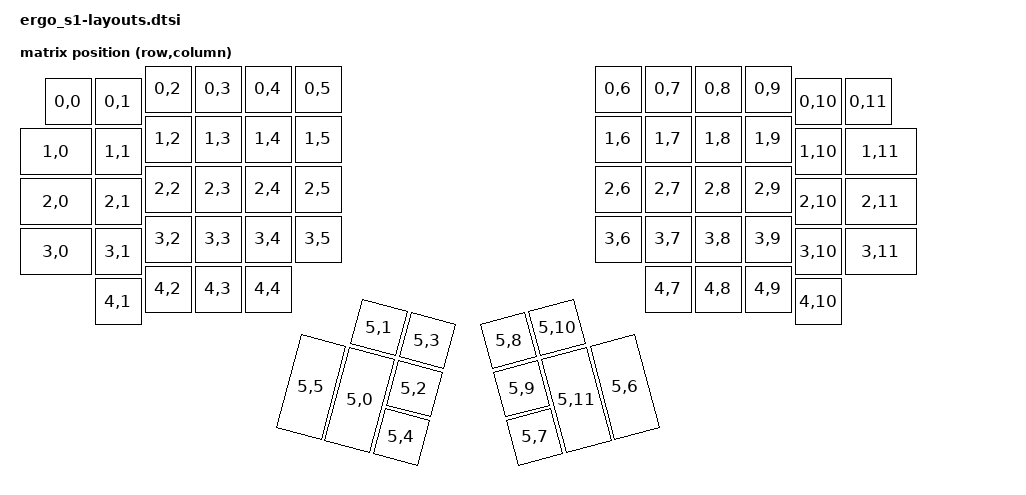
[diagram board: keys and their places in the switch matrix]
/*
 * Ergo S1 — matrix transform + physical layout (shared by both halves and the dongle).
 *
 * Global matrix is 6 rows x 12 columns.
 *   Left half : columns 0..5  (col 0 = outermost / leftmost)
 *   Right half: columns 6..11 (col 11 = outermost / rightmost; overlay sets col-offset = <6>)
 *
 * Row 4 (bottom row) only uses C1..C4 on each half.
 * Row 5 is the thumb cluster: column jumpers C0 Fn, C1 Ctrl, C2 Home, C3 Alt, C4 End, C5 Shift.
 */

#include <dt-bindings/zmk/matrix_transform.h>
#include <physical_layouts.dtsi>

/ {
    default_transform: keymap_transform_0 {
        compatible = "zmk,matrix-transform";
        columns = <12>;
        rows = <6>;
        map = <
RC(0,0) RC(0,1) RC(0,2) RC(0,3) RC(0,4) RC(0,5)    RC(0,6) RC(0,7) RC(0,8) RC(0,9) RC(0,10) RC(0,11)
RC(1,0) RC(1,1) RC(1,2) RC(1,3) RC(1,4) RC(1,5)    RC(1,6) RC(1,7) RC(1,8) RC(1,9) RC(1,10) RC(1,11)
RC(2,0) RC(2,1) RC(2,2) RC(2,3) RC(2,4) RC(2,5)    RC(2,6) RC(2,7) RC(2,8) RC(2,9) RC(2,10) RC(2,11)
RC(3,0) RC(3,1) RC(3,2) RC(3,3) RC(3,4) RC(3,5)    RC(3,6) RC(3,7) RC(3,8) RC(3,9) RC(3,10) RC(3,11)
        RC(4,1) RC(4,2) RC(4,3) RC(4,4)                    RC(4,7) RC(4,8) RC(4,9) RC(4,10)
/* Left thumbs : Shift    Fn       Ctrl     Alt      Home     End                                   */
        RC(5,5) RC(5,0) RC(5,1) RC(5,3) RC(5,2) RC(5,4)
/* Right thumbs: PgDn     PgUp     Caps     Ctrl     Enter    Space                                 */
/* PROVISIONAL: assumes the right half uses the same column jumpers as the left (C0 Enter, C1 Ctrl, */
/* C2 PgUp, C3 Caps, C4 PgDn, C5 Space). Right Cn = global column 11-n. Fix once the half is wired. */
        RC(5,7) RC(5,9) RC(5,8) RC(5,10) RC(5,11) RC(5,6)
        >;
    };

    ergo_s1_layout: ergo_s1_layout {
        compatible = "zmk,physical-layout";
        display-name = "Ergo S1";
        transform = <&default_transform>;

        /*                    w   h     x     y     rot   rx   ry   (1/100 u, 1/100 deg) */
        keys
            = <&key_physical_attrs 100 100   50   25       0    0    0>
            , <&key_physical_attrs 100 100  150   25       0    0    0>
            , <&key_physical_attrs 100 100  250    0       0    0    0>
            , <&key_physical_attrs 100 100  350    0       0    0    0>
            , <&key_physical_attrs 100 100  450    0       0    0    0>
            , <&key_physical_attrs 100 100  550    0       0    0    0>
            , <&key_physical_attrs 100 100 1150    0       0    0    0>
            , <&key_physical_attrs 100 100 1250    0       0    0    0>
            , <&key_physical_attrs 100 100 1350    0       0    0    0>
            , <&key_physical_attrs 100 100 1450    0       0    0    0>
            , <&key_physical_attrs 100 100 1550   25       0    0    0>
            , <&key_physical_attrs 100 100 1650   25       0    0    0>
            , <&key_physical_attrs 150 100    0  125       0    0    0>
            , <&key_physical_attrs 100 100  150  125       0    0    0>
            , <&key_physical_attrs 100 100  250  100       0    0    0>
            , <&key_physical_attrs 100 100  350  100       0    0    0>
            , <&key_physical_attrs 100 100  450  100       0    0    0>
            , <&key_physical_attrs 100 100  550  100       0    0    0>
            , <&key_physical_attrs 100 100 1150  100       0    0    0>
            , <&key_physical_attrs 100 100 1250  100       0    0    0>
            , <&key_physical_attrs 100 100 1350  100       0    0    0>
            , <&key_physical_attrs 100 100 1450  100       0    0    0>
            , <&key_physical_attrs 100 100 1550  125       0    0    0>
            , <&key_physical_attrs 150 100 1650  125       0    0    0>
            , <&key_physical_attrs 150 100    0  225       0    0    0>
            , <&key_physical_attrs 100 100  150  225       0    0    0>
            , <&key_physical_attrs 100 100  250  200       0    0    0>
            , <&key_physical_attrs 100 100  350  200       0    0    0>
            , <&key_physical_attrs 100 100  450  200       0    0    0>
            , <&key_physical_attrs 100 100  550  200       0    0    0>
            , <&key_physical_attrs 100 100 1150  200       0    0    0>
            , <&key_physical_attrs 100 100 1250  200       0    0    0>
            , <&key_physical_attrs 100 100 1350  200       0    0    0>
            , <&key_physical_attrs 100 100 1450  200       0    0    0>
            , <&key_physical_attrs 100 100 1550  225       0    0    0>
            , <&key_physical_attrs 150 100 1650  225       0    0    0>
            , <&key_physical_attrs 150 100    0  325       0    0    0>
            , <&key_physical_attrs 100 100  150  325       0    0    0>
            , <&key_physical_attrs 100 100  250  300       0    0    0>
            , <&key_physical_attrs 100 100  350  300       0    0    0>
            , <&key_physical_attrs 100 100  450  300       0    0    0>
            , <&key_physical_attrs 100 100  550  300       0    0    0>
            , <&key_physical_attrs 100 100 1150  300       0    0    0>
            , <&key_physical_attrs 100 100 1250  300       0    0    0>
            , <&key_physical_attrs 100 100 1350  300       0    0    0>
            , <&key_physical_attrs 100 100 1450  300       0    0    0>
            , <&key_physical_attrs 100 100 1550  325       0    0    0>
            , <&key_physical_attrs 150 100 1650  325       0    0    0>
            , <&key_physical_attrs 100 100  150  425       0    0    0>
            , <&key_physical_attrs 100 100  250  400       0    0    0>
            , <&key_physical_attrs 100 100  350  400       0    0    0>
            , <&key_physical_attrs 100 100  450  400       0    0    0>
            , <&key_physical_attrs 100 100 1250  400       0    0    0>
            , <&key_physical_attrs 100 100 1350  400       0    0    0>
            , <&key_physical_attrs 100 100 1450  400       0    0    0>
            , <&key_physical_attrs 100 100 1550  425       0    0    0>
            , <&key_physical_attrs 100 200  590  540    1500  590  440>
            , <&key_physical_attrs 100 200  690  540    1500  590  440>
            , <&key_physical_attrs 100 100  690  440    1500  590  440>
            , <&key_physical_attrs 100 100  790  440    1500  590  440>
            , <&key_physical_attrs 100 100  790  540    1500  590  440>
            , <&key_physical_attrs 100 100  790  640    1500  590  440>
            , <&key_physical_attrs 100 100  910  640 (-1500) 1210  440>
            , <&key_physical_attrs 100 100  910  540 (-1500) 1210  440>
            , <&key_physical_attrs 100 100  910  440 (-1500) 1210  440>
            , <&key_physical_attrs 100 100 1010  440 (-1500) 1210  440>
            , <&key_physical_attrs 100 200 1010  540 (-1500) 1210  440>
            , <&key_physical_attrs 100 200 1110  540 (-1500) 1210  440>
            ;
    };
};
